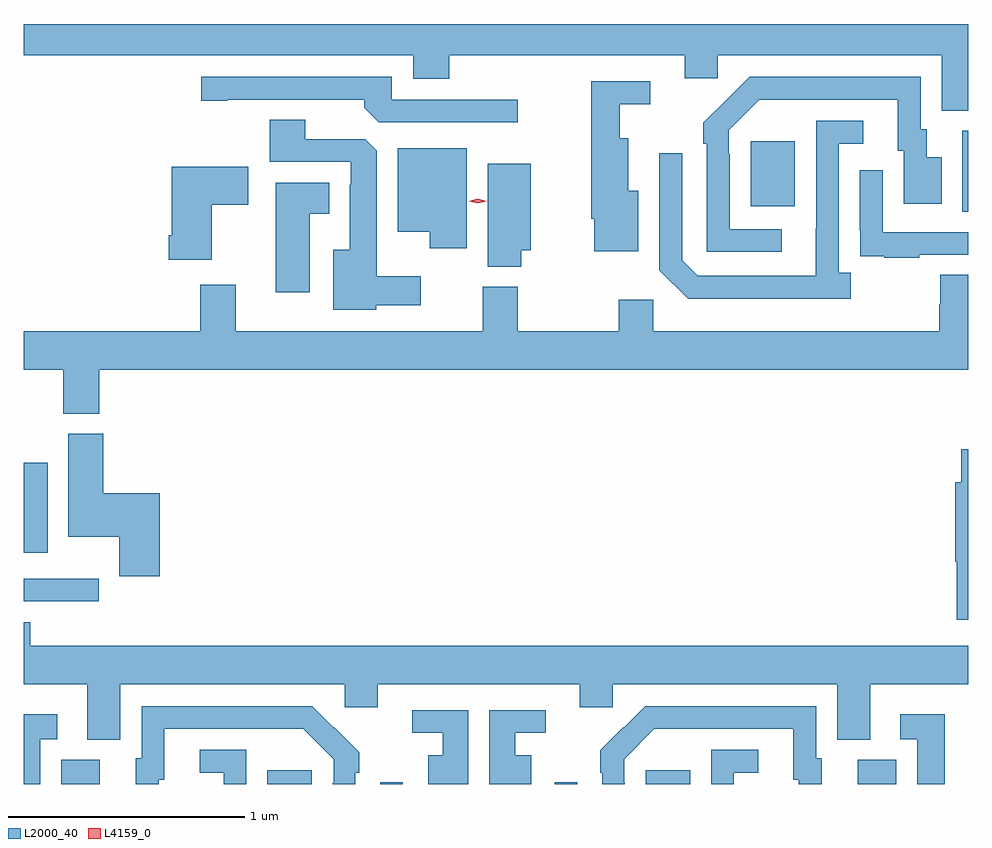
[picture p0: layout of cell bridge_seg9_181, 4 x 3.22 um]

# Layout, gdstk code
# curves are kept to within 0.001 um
import gdstk
lib = gdstk.Library(unit=1e-6, precision=1e-09)
def R(c, l, rs):  # rectangles x0, y0, x1, y1
    for r in rs: c.add(gdstk.rectangle(r[:2], r[2:], *l))
def P(c, l, *ps):  # polygons
    for p in ps: c.add(gdstk.Polygon(p, *l))
L2000_40 = (2000, 40)
L4159_0 = (4159, 0)

bridge_seg9_181 = lib.new_cell('bridge_seg9_181')
R(bridge_seg9_181, L2000_40, [(142.232,1245.282,142.396,1245.384), (143.105,1245.282,143.293,1245.34), (143.583,1245.282,143.679,1245.289), (144.321,1245.282,144.417,1245.289), (144.707,1245.282,144.895,1245.34), (145.604,1245.282,145.768,1245.384), (142.073,1246.056,142.39,1246.152), (142.073,1246.262,142.174,1246.642), (146.048,1247.704,146.073,1248.048), (145.151,1247.729,145.339,1248.004)])
P(bridge_seg9_181, L2000_40, [(146.073,1248.5),(142.073,1248.5),(142.073,1248.368),(143.723,1248.368),(143.723,1248.269),(143.876,1248.269),(143.876,1248.368),(144.872,1248.368),(144.872,1248.27),(145.011,1248.27),(145.011,1248.368),(145.961,1248.368),(145.961,1248.133),(146.073,1248.133)],
  [(145.282,1247.631),(145.062,1247.631),(145.062,1247.951),(145.059,1247.951),(145.059,1248.051),(145.188,1248.18),(145.775,1248.18),(145.775,1247.964),(145.799,1247.964),(145.799,1247.739),(145.96,1247.739),(145.96,1247.935),(145.897,1247.935),(145.897,1248.054),(145.872,1248.054),(145.872,1248.276),(145.148,1248.276),(144.951,1248.081),(144.951,1247.993),(144.966,1247.993),(144.966,1247.535),(145.282,1247.535)],
  [(144.166,1248.18),(143.631,1248.18),(143.631,1248.276),(142.824,1248.276),(142.824,1248.175),(142.936,1248.175),(142.936,1248.18),(143.516,1248.18),(143.516,1248.146),(143.577,1248.084),(144.166,1248.084)],
  [(144.676,1247.794),(144.634,1247.794),(144.634,1248.016),(144.598,1248.016),(144.598,1248.161),(144.727,1248.161),(144.727,1248.258),(144.477,1248.258),(144.477,1247.912),(144.476,1247.912),(144.476,1247.676),(144.488,1247.676),(144.488,1247.537),(144.676,1247.537)],
  [(143.565,1247.309),(143.755,1247.309),(143.755,1247.431),(143.569,1247.431),(143.569,1247.963),(143.52,1248.012),(143.266,1248.012),(143.266,1248.095),(143.114,1248.095),(143.114,1247.916),(143.457,1247.916),(143.457,1247.819),(143.453,1247.819),(143.453,1247.545),(143.384,1247.545),(143.384,1247.291),(143.565,1247.291)],
  [(145.576,1247.446),(145.524,1247.446),(145.524,1247.994),(145.627,1247.994),(145.627,1248.09),(145.428,1248.09),(145.427,1247.433),(144.927,1247.433),(144.861,1247.499),(144.861,1247.953),(144.765,1247.953),(144.765,1247.457),(144.886,1247.336),(145.576,1247.336)],
  [(143.95,1247.974),(143.657,1247.974),(143.657,1247.621),(143.792,1247.621),(143.792,1247.55),(143.95,1247.55)],
  [(144.18,1247.543),(144.22,1247.543),(144.22,1247.908),(144.038,1247.908),(144.038,1247.473),(144.18,1247.473)],
  [(142.87,1247.734),(143.023,1247.734),(143.023,1247.896),(142.7,1247.896),(142.7,1247.605),(142.688,1247.605),(142.688,1247.501),(142.87,1247.501)],
  [(145.865,1247.523),(146.073,1247.523),(146.073,1247.619),(145.71,1247.619),(145.71,1247.881),(145.614,1247.881),(145.614,1247.626),(145.615,1247.626),(145.615,1247.517),(145.717,1247.517),(145.717,1247.511),(145.865,1247.511)],
  [(143.284,1247.696),(143.368,1247.696),(143.368,1247.827),(143.141,1247.827),(143.141,1247.364),(143.284,1247.364)],
  [(142.394,1247.036),(146.073,1247.036),(146.073,1247.438),(145.954,1247.438),(145.954,1247.313),(145.949,1247.313),(145.949,1247.2),(144.738,1247.2),(144.738,1247.332),(144.592,1247.332),(144.592,1247.2),(144.165,1247.2),(144.165,1247.388),(144.017,1247.388),(144.017,1247.2),(142.972,1247.2),(142.972,1247.395),(142.82,1247.395),(142.82,1247.2),(142.073,1247.2),(142.073,1247.036),(142.241,1247.036),(142.241,1246.849),(142.394,1246.849)],
  [(142.649,1246.513),(142.409,1246.513),(142.409,1246.764),(142.262,1246.764),(142.262,1246.328),(142.478,1246.328),(142.478,1246.161),(142.649,1246.161)],
  [(146.073,1246.699),(146.042,1246.699),(146.042,1246.56),(146.018,1246.56),(146.018,1246.224),(146.023,1246.224),(146.023,1245.978),(146.073,1245.978)],
  [(142.483,1245.704),(143.433,1245.704),(143.433,1245.606),(143.572,1245.606),(143.572,1245.704),(144.428,1245.704),(144.428,1245.606),(144.567,1245.606),(144.567,1245.704),(145.517,1245.704),(145.517,1245.469),(145.657,1245.469),(145.657,1245.704),(146.073,1245.704),(146.073,1245.868),(142.1,1245.868),(142.1,1245.967),(142.073,1245.967),(142.073,1245.704),(142.343,1245.704),(142.343,1245.469),(142.483,1245.469)],
  [(144.618,1245.287),(144.615,1245.287),(144.615,1245.387),(144.744,1245.516),(145.331,1245.516),(145.331,1245.3),(145.355,1245.3),(145.355,1245.282),(145.453,1245.282),(145.453,1245.39),(145.428,1245.39),(145.428,1245.612),(144.704,1245.612),(144.613,1245.521),(144.612,1245.522),(144.515,1245.424),(144.515,1245.329),(144.522,1245.329),(144.522,1245.282),(144.618,1245.282)],
  [(142.645,1245.3),(142.669,1245.3),(142.669,1245.516),(143.257,1245.516),(143.385,1245.387),(143.385,1245.287),(143.382,1245.287),(143.382,1245.282),(143.478,1245.282),(143.478,1245.329),(143.493,1245.329),(143.493,1245.417),(143.296,1245.612),(142.572,1245.612),(142.572,1245.39),(142.547,1245.39),(142.547,1245.282),(142.645,1245.282)],
  [(143.956,1245.299),(143.955,1245.299),(143.955,1245.594),(143.718,1245.594),(143.718,1245.498),(143.847,1245.498),(143.847,1245.403),(143.786,1245.403),(143.786,1245.282),(143.956,1245.282)],
  [(144.223,1245.403),(144.154,1245.403),(144.154,1245.498),(144.283,1245.498),(144.283,1245.594),(144.045,1245.594),(144.045,1245.299),(144.044,1245.299),(144.044,1245.282),(144.223,1245.282)],
  [(142.143,1245.471),(142.216,1245.471),(142.216,1245.577),(142.073,1245.577),(142.073,1245.282),(142.143,1245.282)],
  [(145.973,1245.577),(145.785,1245.577),(145.785,1245.471),(145.857,1245.471),(145.857,1245.282),(145.973,1245.282)],
  [(145.08,1245.33),(145.183,1245.33),(145.183,1245.426),(144.984,1245.426),(144.984,1245.282),(145.08,1245.282)],
  [(143.016,1245.426),(142.818,1245.426),(142.818,1245.33),(142.92,1245.33),(142.92,1245.282),(143.016,1245.282)])
P(bridge_seg9_181, L4159_0, [(143.995,1247.74),(143.958,1247.75),(143.957,1247.75),(143.958,1247.75),(143.995,1247.76),(144.033,1247.75),(144.033,1247.75),(144.033,1247.75)])

lib.write_gds('bridge_seg9_181.gds')
